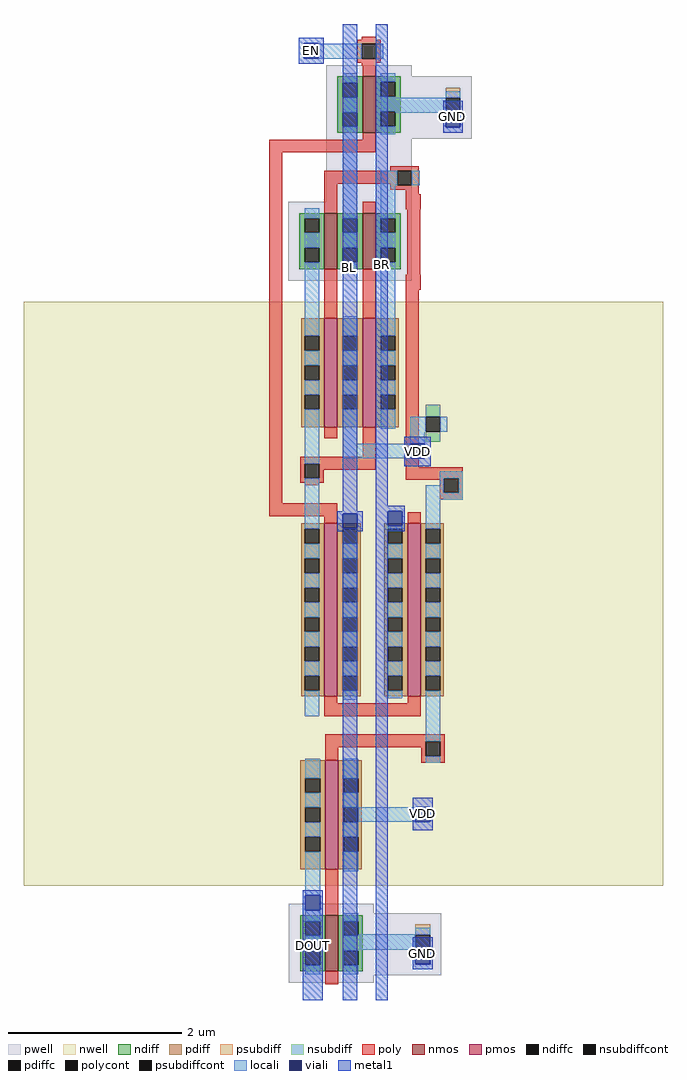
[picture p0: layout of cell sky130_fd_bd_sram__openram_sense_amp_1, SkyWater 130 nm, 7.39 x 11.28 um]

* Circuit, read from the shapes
.subckt sky130_fd_bd_sram__openram_sense_amp_1 BL BR DOUT EN GND VDD bl br dout en vdd gnd
XM1 n1 n2 n3 GND sky130_fd_pr__nfet_01v8 w=0.65 l=0.15
XM2 GND n2 DOUT GND sky130_fd_pr__nfet_01v8 w=0.65 l=0.15
XM3 n2 n3 n1 GND sky130_fd_pr__nfet_01v8 w=0.65 l=0.15
XM4 GND EN n1 GND sky130_fd_pr__nfet_01v8 w=0.65 l=0.15
XM5 BL EN n3 VDD sky130_fd_pr__pfet_01v8 w=2 l=0.15
XM6 VDD n2 n3 VDD sky130_fd_pr__pfet_01v8 w=1.26 l=0.15
XM7 VDD n2 DOUT VDD sky130_fd_pr__pfet_01v8 w=1.26 l=0.15
XM8 n2 n3 VDD VDD sky130_fd_pr__pfet_01v8 w=1.26 l=0.15
XM9 n2 EN BR VDD sky130_fd_pr__pfet_01v8 w=2 l=0.15
.ends

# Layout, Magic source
magic
tech sky130A
magscale 1 2
<< nwell >>
rect -541 264 937 1614
<< pwell >>
rect 158 2135 356 2161
rect 158 1991 494 2135
rect 158 1845 356 1991
rect 70 1663 356 1845
rect 72 201 268 222
rect 72 57 424 201
rect 72 40 268 57
<< nmos >>
rect 242 2005 272 2135
rect 154 1689 184 1819
rect 242 1689 272 1819
rect 156 66 186 196
<< pmos >>
rect 154 1324 184 1576
rect 242 1324 272 1576
rect 154 702 184 1102
rect 346 702 376 1102
rect 156 302 186 554
<< ndiff >>
rect 184 2120 242 2135
rect 184 2086 196 2120
rect 230 2086 242 2120
rect 184 2052 242 2086
rect 184 2018 196 2052
rect 230 2018 242 2052
rect 184 2005 242 2018
rect 272 2122 330 2135
rect 272 2088 284 2122
rect 318 2088 330 2122
rect 272 2054 330 2088
rect 272 2020 284 2054
rect 318 2020 330 2054
rect 272 2005 330 2020
rect 96 1807 154 1819
rect 96 1773 108 1807
rect 142 1773 154 1807
rect 96 1739 154 1773
rect 96 1705 108 1739
rect 142 1705 154 1739
rect 96 1689 154 1705
rect 184 1807 242 1819
rect 184 1773 196 1807
rect 230 1773 242 1807
rect 184 1739 242 1773
rect 184 1705 196 1739
rect 230 1705 242 1739
rect 184 1689 242 1705
rect 272 1807 330 1819
rect 272 1773 284 1807
rect 318 1773 330 1807
rect 272 1739 330 1773
rect 272 1705 284 1739
rect 318 1705 330 1739
rect 272 1689 330 1705
rect 98 182 156 196
rect 98 148 110 182
rect 144 148 156 182
rect 98 114 156 148
rect 98 80 110 114
rect 144 80 156 114
rect 98 66 156 80
rect 186 182 242 196
rect 186 148 198 182
rect 232 148 242 182
rect 186 114 242 148
rect 186 80 198 114
rect 232 80 242 114
rect 186 66 242 80
<< pdiff >>
rect 100 1535 154 1576
rect 100 1501 108 1535
rect 142 1501 154 1535
rect 100 1467 154 1501
rect 100 1433 108 1467
rect 142 1433 154 1467
rect 100 1399 154 1433
rect 100 1365 108 1399
rect 142 1365 154 1399
rect 100 1324 154 1365
rect 184 1535 242 1576
rect 184 1501 196 1535
rect 230 1501 242 1535
rect 184 1467 242 1501
rect 184 1433 196 1467
rect 230 1433 242 1467
rect 184 1399 242 1433
rect 184 1365 196 1399
rect 230 1365 242 1399
rect 184 1324 242 1365
rect 272 1535 326 1576
rect 272 1501 284 1535
rect 318 1501 326 1535
rect 272 1467 326 1501
rect 272 1433 284 1467
rect 318 1433 326 1467
rect 272 1399 326 1433
rect 272 1365 284 1399
rect 318 1365 326 1399
rect 272 1324 326 1365
rect 100 1089 154 1102
rect 100 1055 108 1089
rect 142 1055 154 1089
rect 100 1021 154 1055
rect 100 987 108 1021
rect 142 987 154 1021
rect 100 953 154 987
rect 100 919 108 953
rect 142 919 154 953
rect 100 885 154 919
rect 100 851 108 885
rect 142 851 154 885
rect 100 817 154 851
rect 100 783 108 817
rect 142 783 154 817
rect 100 749 154 783
rect 100 715 108 749
rect 142 715 154 749
rect 100 702 154 715
rect 184 1089 238 1102
rect 184 1055 196 1089
rect 230 1055 238 1089
rect 184 1021 238 1055
rect 184 987 196 1021
rect 230 987 238 1021
rect 184 953 238 987
rect 184 919 196 953
rect 230 919 238 953
rect 184 885 238 919
rect 184 851 196 885
rect 230 851 238 885
rect 184 817 238 851
rect 184 783 196 817
rect 230 783 238 817
rect 184 749 238 783
rect 184 715 196 749
rect 230 715 238 749
rect 184 702 238 715
rect 292 1089 346 1102
rect 292 1055 300 1089
rect 334 1055 346 1089
rect 292 1021 346 1055
rect 292 987 300 1021
rect 334 987 346 1021
rect 292 953 346 987
rect 292 919 300 953
rect 334 919 346 953
rect 292 885 346 919
rect 292 851 300 885
rect 334 851 346 885
rect 292 817 346 851
rect 292 783 300 817
rect 334 783 346 817
rect 292 749 346 783
rect 292 715 300 749
rect 334 715 346 749
rect 292 702 346 715
rect 376 1089 430 1102
rect 376 1055 388 1089
rect 422 1055 430 1089
rect 376 1021 430 1055
rect 376 987 388 1021
rect 422 987 430 1021
rect 376 953 430 987
rect 376 919 388 953
rect 422 919 430 953
rect 376 885 430 919
rect 376 851 388 885
rect 422 851 430 885
rect 376 817 430 851
rect 376 783 388 817
rect 422 783 430 817
rect 376 749 430 783
rect 376 715 388 749
rect 422 715 430 749
rect 376 702 430 715
rect 98 513 156 554
rect 98 479 110 513
rect 144 479 156 513
rect 98 445 156 479
rect 98 411 110 445
rect 144 411 156 445
rect 98 377 156 411
rect 98 343 110 377
rect 144 343 156 377
rect 98 302 156 343
rect 186 513 240 554
rect 186 479 198 513
rect 232 479 240 513
rect 186 445 240 479
rect 186 411 198 445
rect 232 411 240 445
rect 186 377 240 411
rect 186 343 198 377
rect 232 343 240 377
rect 186 302 240 343
<< ndiffc >>
rect 196 2086 230 2120
rect 196 2018 230 2052
rect 284 2088 318 2122
rect 284 2020 318 2054
rect 108 1773 142 1807
rect 108 1705 142 1739
rect 196 1773 230 1807
rect 196 1705 230 1739
rect 284 1773 318 1807
rect 284 1705 318 1739
rect 110 148 144 182
rect 110 80 144 114
rect 198 148 232 182
rect 198 80 232 114
<< pdiffc >>
rect 108 1501 142 1535
rect 108 1433 142 1467
rect 108 1365 142 1399
rect 196 1501 230 1535
rect 196 1433 230 1467
rect 196 1365 230 1399
rect 284 1501 318 1535
rect 284 1433 318 1467
rect 284 1365 318 1399
rect 108 1055 142 1089
rect 108 987 142 1021
rect 108 919 142 953
rect 108 851 142 885
rect 108 783 142 817
rect 108 715 142 749
rect 196 1055 230 1089
rect 196 987 230 1021
rect 196 919 230 953
rect 196 851 230 885
rect 196 783 230 817
rect 196 715 230 749
rect 300 1055 334 1089
rect 300 987 334 1021
rect 300 919 334 953
rect 300 851 334 885
rect 300 783 334 817
rect 300 715 334 749
rect 388 1055 422 1089
rect 388 987 422 1021
rect 388 919 422 953
rect 388 851 422 885
rect 388 783 422 817
rect 388 715 422 749
rect 110 479 144 513
rect 110 411 144 445
rect 110 343 144 377
rect 198 479 232 513
rect 198 411 232 445
rect 198 343 232 377
<< psubdiff >>
rect 434 2085 468 2109
rect 434 2017 468 2051
rect 364 151 398 175
rect 364 83 398 117
<< nsubdiff >>
rect 388 1348 422 1376
rect 388 1290 422 1314
<< psubdiffcont >>
rect 434 2051 468 2085
rect 364 117 398 151
<< nsubdiffcont >>
rect 388 1314 422 1348
<< poly >>
rect 240 2220 274 2226
rect 230 2210 284 2220
rect 230 2176 240 2210
rect 274 2176 284 2210
rect 230 2166 284 2176
rect 240 2160 274 2166
rect 242 2135 272 2160
rect 242 1989 272 2005
rect 26 1959 272 1989
rect 26 1148 56 1959
rect 306 1917 372 1927
rect 154 1887 322 1917
rect 154 1819 184 1887
rect 306 1883 322 1887
rect 356 1883 372 1917
rect 306 1873 372 1883
rect 342 1862 372 1873
rect 242 1819 272 1845
rect 342 1828 376 1862
rect 154 1576 184 1689
rect 242 1576 272 1689
rect 345 1676 375 1828
rect 342 1642 376 1676
rect 154 1298 184 1324
rect 242 1256 272 1324
rect 98 1240 272 1256
rect 98 1206 108 1240
rect 142 1226 272 1240
rect 342 1232 372 1642
rect 142 1206 152 1226
rect 98 1196 152 1206
rect 342 1206 474 1232
rect 342 1202 430 1206
rect 108 1190 142 1196
rect 420 1172 430 1202
rect 464 1172 474 1206
rect 420 1158 474 1172
rect 430 1156 474 1158
rect 26 1118 184 1148
rect 154 1102 184 1118
rect 346 1102 376 1128
rect 154 686 184 702
rect 346 686 376 702
rect 154 656 376 686
rect 156 598 432 614
rect 156 584 388 598
rect 156 554 186 584
rect 378 564 388 584
rect 422 564 432 598
rect 378 548 432 564
rect 156 196 186 302
rect 156 36 186 66
<< polycont >>
rect 240 2176 274 2210
rect 322 1883 356 1917
rect 108 1206 142 1240
rect 430 1172 464 1206
rect 388 564 422 598
<< locali >>
rect 106 2211 140 2212
rect 140 2177 240 2210
rect 106 2176 240 2177
rect 274 2176 290 2210
rect 196 2120 230 2142
rect 196 2052 230 2086
rect 108 1807 142 1830
rect 108 1739 142 1773
rect 108 1535 142 1705
rect 196 1807 230 2018
rect 284 2122 318 2142
rect 284 2085 318 2088
rect 434 2085 468 2101
rect 284 2054 434 2085
rect 318 2051 434 2054
rect 284 2001 318 2020
rect 196 1739 230 1773
rect 196 1685 230 1705
rect 284 1883 322 1917
rect 356 1883 374 1917
rect 284 1807 318 1883
rect 284 1739 318 1773
rect 108 1467 142 1501
rect 108 1399 142 1433
rect 108 1240 142 1365
rect 196 1535 230 1580
rect 196 1467 230 1501
rect 196 1399 230 1433
rect 196 1286 230 1365
rect 284 1535 318 1705
rect 284 1467 318 1501
rect 284 1399 318 1433
rect 284 1320 318 1365
rect 352 1314 388 1348
rect 422 1314 438 1348
rect 352 1286 386 1314
rect 196 1252 352 1286
rect 108 1089 142 1206
rect 420 1206 474 1222
rect 420 1190 430 1206
rect 388 1172 430 1190
rect 464 1172 474 1206
rect 388 1156 474 1172
rect 108 1021 142 1055
rect 108 953 142 987
rect 108 885 142 919
rect 108 817 142 851
rect 108 749 142 783
rect 108 656 142 715
rect 196 1089 230 1090
rect 196 1021 230 1055
rect 196 953 230 987
rect 196 885 230 919
rect 196 817 230 851
rect 196 749 230 783
rect 196 694 230 715
rect 300 1089 334 1096
rect 300 1021 334 1055
rect 300 953 334 987
rect 300 885 334 919
rect 300 817 334 851
rect 300 749 334 783
rect 300 698 334 715
rect 388 1089 422 1156
rect 388 1021 422 1055
rect 388 953 422 987
rect 388 885 422 919
rect 388 817 422 851
rect 388 749 422 783
rect 388 598 422 715
rect 110 513 144 558
rect 110 445 144 479
rect 110 377 144 411
rect 110 242 144 343
rect 198 513 232 558
rect 388 548 422 564
rect 198 446 232 479
rect 198 445 364 446
rect 232 412 364 445
rect 198 377 232 411
rect 198 298 232 343
rect 110 182 144 208
rect 110 114 144 148
rect 110 60 144 80
rect 196 182 232 200
rect 196 148 198 182
rect 364 152 398 167
rect 232 151 398 152
rect 232 148 364 151
rect 196 116 364 148
rect 196 114 232 116
rect 196 80 198 114
rect 196 60 232 80
<< viali >>
rect 106 2177 140 2211
rect 434 2017 468 2051
rect 352 1252 386 1286
rect 196 1090 230 1124
rect 300 1096 334 1130
rect 364 412 398 446
rect 110 208 144 242
rect 364 83 398 117
<< metal1 >>
rect 94 2211 152 2224
rect 94 2177 106 2211
rect 140 2177 152 2211
rect 94 2164 152 2177
rect 196 1130 230 2256
rect 272 1142 300 2256
rect 428 2051 474 2079
rect 428 2017 434 2051
rect 468 2017 474 2051
rect 428 2005 474 2017
rect 338 1286 400 1302
rect 338 1252 352 1286
rect 386 1252 400 1286
rect 338 1234 400 1252
rect 272 1130 340 1142
rect 184 1124 242 1130
rect 184 1090 196 1124
rect 230 1090 242 1124
rect 184 1084 242 1090
rect 272 1096 300 1130
rect 334 1096 340 1130
rect 272 1084 340 1096
rect 104 242 150 254
rect 104 208 110 242
rect 144 208 150 242
rect 104 0 150 208
rect 196 0 230 1084
rect 272 0 300 1084
rect 358 446 404 468
rect 358 412 364 446
rect 398 412 404 446
rect 358 392 404 412
rect 358 117 404 145
rect 358 83 364 117
rect 398 83 404 117
rect 358 71 404 83
<< labels >>
rlabel metal1 s 196 1130 230 2256 4 BL
port 1 nsew
rlabel metal1 s 272 1142 300 2256 4 BR
port 2 nsew
rlabel metal1 s 104 0 150 254 4 DOUT
port 3 nsew
rlabel metal1 s 94 2164 152 2224 4 EN
port 4 nsew
rlabel metal1 s 428 2005 474 2079 4 GND
port 5 nsew
rlabel metal1 s 358 71 404 145 4 GND
port 5 nsew
rlabel metal1 s 338 1234 400 1302 4 VDD
port 6 nsew
rlabel metal1 s 358 392 404 468 4 VDD
port 6 nsew
rlabel metal1 s 213 1693 213 1693 4 bl
port 7 nsew
rlabel metal1 s 286 1699 286 1699 4 br
port 8 nsew
rlabel metal1 s 127 127 127 127 4 dout
port 9 nsew
rlabel metal1 s 123 2194 123 2194 4 en
port 10 nsew
rlabel metal1 s 369 1268 369 1268 4 vdd
port 11 nsew
rlabel metal1 s 381 430 381 430 4 vdd
port 11 nsew
rlabel metal1 s 451 2042 451 2042 4 gnd
port 12 nsew
rlabel metal1 s 381 108 381 108 4 gnd
port 12 nsew
<< properties >>
string FIXED_BBOX 0 0 500 2256
string GDS_FILE $PDKPATH/libs.ref/sky130_sram_macros/gds/sky130_sram_1kbyte_1rw1r_32x256_8.gds
string GDS_END 252730
string GDS_START 240418
<< end >>
